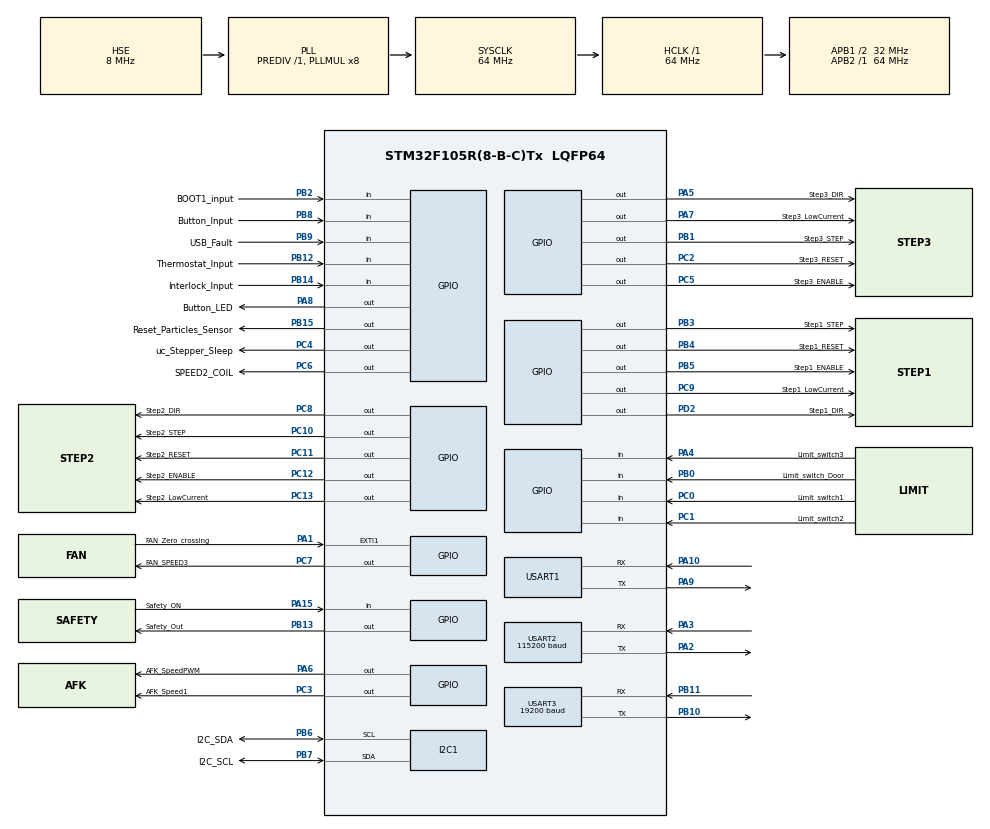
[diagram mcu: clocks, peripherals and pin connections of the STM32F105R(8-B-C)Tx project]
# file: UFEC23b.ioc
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Dma.Request0=USART1_RX
Dma.USART1_RX.0.Direction=DMA_PERIPH_TO_MEMORY
Dma.USART1_RX.0.Instance=DMA1_Channel5
Dma.USART1_RX.0.MemDataAlignment=DMA_MDATAALIGN_BYTE
Dma.USART1_RX.0.MemInc=DMA_MINC_ENABLE
Dma.USART1_RX.0.Mode=DMA_CIRCULAR
Dma.USART1_RX.0.PeriphDataAlignment=DMA_PDATAALIGN_BYTE
Dma.USART1_RX.0.PeriphInc=DMA_PINC_DISABLE
Dma.USART1_RX.0.Priority=DMA_PRIORITY_LOW
FREERTOS.INCLUDE_uxTaskGetStackHighWaterMark=1
FREERTOS.Tasks01=Algo_task,0,512,Algo_Init,As weak,NULL,Dynamic,NULL,NULL;MotorManager,0,128,Motor_task,As external,NULL,Dynamic,NULL,NULL
FREERTOS.Timers01=Timer,TimerCallback,osTimerPeriodic,Default,NULL,Dynamic,NULL
FREERTOS.configTOTAL_HEAP_SIZE=8192
FREERTOS.configUSE_NEWLIB_REENTRANT=1
FREERTOS.configUSE_TIMERS=1
IWDG.Prescaler=IWDG_PRESCALER_256
IWDG.Reload=780
Mcu.Family=STM32F1
Mcu.Name=STM32F105R(8-B-C)Tx
Mcu.Package=LQFP64
NVIC.DMA1_Channel5_IRQn=true\:5\:0\:false\:false\:true\:true\:false\:true\:true
NVIC.EXTI1_IRQn=true\:5\:0\:false\:false\:true\:true\:true\:true\:true
NVIC.I2C1_ER_IRQn=true\:5\:0\:false\:false\:true\:true\:true\:true\:true
NVIC.I2C1_EV_IRQn=true\:5\:0\:false\:false\:true\:true\:true\:true\:true
NVIC.PriorityGroup=NVIC_PRIORITYGROUP_4
NVIC.TIM1_UP_IRQn=true\:15\:0\:false\:false\:true\:false\:false\:true\:true
NVIC.TIM2_IRQn=true\:5\:0\:false\:false\:true\:true\:true\:true\:true
NVIC.TIM3_IRQn=true\:5\:0\:false\:false\:true\:true\:true\:true\:true
NVIC.TIM4_IRQn=true\:5\:0\:false\:false\:true\:true\:true\:true\:true
NVIC.TIM5_IRQn=true\:5\:0\:false\:false\:true\:true\:true\:true\:true
NVIC.TimeBase=TIM1_UP_IRQn
NVIC.TimeBaseIP=TIM1
NVIC.USART1_IRQn=true\:5\:0\:false\:false\:true\:true\:true\:true\:true
NVIC.USART2_IRQn=true\:5\:0\:false\:false\:true\:true\:true\:true\:true
NVIC.USART3_IRQn=true\:5\:0\:false\:false\:true\:true\:true\:true\:true
PA1.GPIO_Label=FAN_Zero_crossing
PA1.Signal=GPXTI1
PA10.GPIO_PuPd=GPIO_NOPULL
PA10.Mode=Asynchronous
PA10.Signal=USART1_RX
PA13.Mode=Serial_Wire
PA13.Signal=SYS_JTMS-SWDIO
PA14.Mode=Serial_Wire
PA14.Signal=SYS_JTCK-SWCLK
PA15.GPIO_Label=Safety_ON
PA15.Signal=GPIO_Input
PA2.Mode=Asynchronous
PA2.Signal=USART2_TX
PA3.GPIO_PuPd=GPIO_NOPULL
PA3.Mode=Asynchronous
PA3.Signal=USART2_RX
PA4.GPIO_Label=Limit_switch3
PA4.Signal=GPIO_Input
PA5.GPIO_Label=Step3_DIR
PA5.PinState=GPIO_PIN_SET
PA5.Signal=GPIO_Output
PA6.GPIO_Label=AFK_SpeedPWM
PA6.Signal=GPIO_Output
PA7.GPIO_Label=Step3_LowCurrent
PA7.Signal=GPIO_Output
PA8.GPIO_Label=Button_LED
PA8.PinState=GPIO_PIN_SET
PA8.Signal=GPIO_Output
PA9.Mode=Asynchronous
PA9.Signal=USART1_TX
PB0.GPIO_Label=Limit_switch_Door
PB0.Signal=GPIO_Input
PB1.GPIO_Label=Step3_STEP
PB1.GPIO_Speed=GPIO_SPEED_FREQ_HIGH
PB1.Signal=GPIO_Output
PB10.Mode=Asynchronous
PB10.Signal=USART3_TX
PB11.GPIO_PuPd=GPIO_NOPULL
PB11.Mode=Asynchronous
PB11.Signal=USART3_RX
PB12.GPIO_Label=Thermostat_Input
PB12.Signal=GPIO_Input
PB13.GPIO_Label=Safety_Out
PB13.GPIO_Speed=GPIO_SPEED_FREQ_LOW
PB13.PinState=GPIO_PIN_RESET
PB13.Signal=GPIO_Output
PB14.GPIO_Label=Interlock_Input
PB14.Signal=GPIO_Input
PB15.GPIO_Label=Reset_Particles_Sensor
PB15.PinState=GPIO_PIN_SET
PB15.Signal=GPIO_Output
PB2.GPIO_Label=BOOT1_input
PB2.Signal=GPIO_Input
PB3.GPIO_Label=Step1_STEP
PB3.GPIO_Speed=GPIO_SPEED_FREQ_HIGH
PB3.Signal=GPIO_Output
PB4.GPIO_Label=Step1_RESET
PB4.PinState=GPIO_PIN_SET
PB4.Signal=GPIO_Output
PB5.GPIO_Label=Step1_ENABLE
PB5.PinState=GPIO_PIN_SET
PB5.Signal=GPIO_Output
PB6.GPIO_Label=I2C_SDA
PB6.GPIO_Pu=GPIO_PULLUP
PB6.Mode=I2C
PB6.Signal=I2C1_SCL
PB7.GPIO_Label=I2C_SCL
PB7.GPIO_Pu=GPIO_PULLUP
PB7.Mode=I2C
PB7.Signal=I2C1_SDA
PB8.GPIO_Label=Button_Input
PB8.GPIO_PuPd=GPIO_NOPULL
PB8.Signal=GPIO_Input
PB9.GPIO_Label=USB_Fault
PB9.Signal=GPIO_Input
PC0.GPIO_Label=Limit_switch1
PC0.Signal=GPIO_Input
PC1.GPIO_Label=Limit_switch2
PC1.Signal=GPIO_Input
PC10.GPIO_Label=Step2_STEP
PC10.GPIO_Speed=GPIO_SPEED_FREQ_HIGH
PC10.Signal=GPIO_Output
PC11.GPIO_Label=Step2_RESET
PC11.PinState=GPIO_PIN_SET
PC11.Signal=GPIO_Output
PC12.GPIO_Label=Step2_ENABLE
PC12.PinState=GPIO_PIN_SET
PC12.Signal=GPIO_Output
PC13-TAMPER-RTC.GPIO_Label=Step2_LowCurrent
PC13-TAMPER-RTC.Signal=GPIO_Output
PC14-OSC32_IN.Mode=LSE-External-Oscillator
PC14-OSC32_IN.Signal=RCC_OSC32_IN
PC15-OSC32_OUT.Mode=LSE-External-Oscillator
PC15-OSC32_OUT.Signal=RCC_OSC32_OUT
PC2.GPIO_Label=Step3_RESET
PC2.PinState=GPIO_PIN_SET
PC2.Signal=GPIO_Output
PC3.GPIO_Label=AFK_Speed1
PC3.GPIO_ModeDefaultOutputPP=GPIO_MODE_OUTPUT_PP
PC3.PinState=GPIO_PIN_RESET
PC3.Signal=GPIO_Output
PC4.GPIO_Label=uc_Stepper_Sleep
PC4.Signal=GPIO_Output
PC5.GPIO_Label=Step3_ENABLE
PC5.PinState=GPIO_PIN_SET
PC5.Signal=GPIO_Output
PC6.GPIO_Label=SPEED2_COIL
PC6.Signal=GPIO_Output
PC7.GPIO_Label=FAN_SPEED3
PC7.Signal=GPIO_Output
PC8.GPIO_Label=Step2_DIR
PC8.Signal=GPIO_Output
PC9.GPIO_Label=Step1_LowCurrent
PC9.Signal=GPIO_Output
PD0-OSC_IN.Mode=HSE-External-Oscillator
PD0-OSC_IN.Signal=RCC_OSC_IN
PD1-OSC_OUT.Mode=HSE-External-Oscillator
PD1-OSC_OUT.Signal=RCC_OSC_OUT
PD2.GPIO_Label=Step1_DIR
PD2.Signal=GPIO_Output
ProjectManager.HeapSize=0x200
ProjectManager.StackSize=0x400
ProjectManager.TargetToolchain=STM32CubeIDE
RCC.AHBFreq_Value=64000000
RCC.APB1CLKDivider=RCC_HCLK_DIV2
RCC.APB1Freq_Value=32000000
RCC.APB1TimFreq_Value=64000000
RCC.APB2Freq_Value=64000000
RCC.APB2TimFreq_Value=64000000
RCC.HCLKFreq_Value=64000000
RCC.PLL2Mul=RCC_PLL2_MUL12
RCC.PLLMUL=RCC_PLL_MUL8
RCC.PLLSourceVirtual=RCC_PLLSOURCE_HSE
RCC.Prediv2=RCC_HSE_PREDIV2_DIV2
RCC.RTCClockSelection=RCC_RTCCLKSOURCE_LSE
RCC.SYSCLKFreq_VALUE=64000000
RCC.SYSCLKSource=RCC_SYSCLKSOURCE_PLLCLK
RCC.USBFreq_Value=42666666.666666664
TIM2.AutoReloadPreload=TIM_AUTORELOAD_PRELOAD_ENABLE
TIM2.Period=1280-1
TIM2.Prescaler=64-1
TIM2.TIM_MasterOutputTrigger=TIM_TRGO_ENABLE
TIM3.AutoReloadPreload=TIM_AUTORELOAD_PRELOAD_ENABLE
TIM3.Period=2500
TIM3.Prescaler=64-1
TIM3.TIM_MasterOutputTrigger=TIM_TRGO_ENABLE
TIM4.AutoReloadPreload=TIM_AUTORELOAD_PRELOAD_ENABLE
TIM4.Period=1280-1
TIM4.Prescaler=64-1
TIM4.TIM_MasterOutputTrigger=TIM_TRGO_ENABLE
TIM5.AutoReloadPreload=TIM_AUTORELOAD_PRELOAD_ENABLE
TIM5.Period=2500
TIM5.Prescaler=64-1
TIM5.TIM_MasterOutputTrigger=TIM_TRGO_ENABLE
USART1.VirtualMode=VM_ASYNC
USART2.BaudRate=115200
USART2.VirtualMode=VM_ASYNC
USART3.BaudRate=19200
USART3.VirtualMode=VM_ASYNC
VP_FREERTOS_VS_CMSIS_V1.Mode=CMSIS_V1
VP_IWDG_VS_IWDG.Mode=IWDG_Activate
VP_RTC_No_RTC_Output.Mode=RTC_OUT_NO
VP_RTC_VS_RTC_Activate.Mode=RTC_Enabled
VP_RTC_VS_RTC_Calendar.Mode=RTC_Calendar
VP_SYS_VS_tim1.Mode=TIM1
VP_TIM2_VS_ClockSourceINT.Mode=Internal
VP_TIM3_VS_ClockSourceINT.Mode=Internal
VP_TIM3_VS_OPM.Mode=OPM_bit
VP_TIM4_VS_ClockSourceINT.Mode=Internal
VP_TIM5_VS_ClockSourceINT.Mode=Internal
VP_TIM5_VS_OPM.Mode=OPM_bit
board=custom

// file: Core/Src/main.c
/* USER CODE BEGIN Header */
/**
  ******************************************************************************
  * @file           : main.c
  * @brief          : Main program body
  ******************************************************************************
  * @attention
  *
  * <h2><center>&copy; Copyright (c) 2023 STMicroelectronics.
  * All rights reserved.</center></h2>
  *
  * This software component is licensed by ST under Ultimate Liberty license
  * SLA0044, the "License"; You may not use this file except in compliance with
  * the License. You may obtain a copy of the License at:
  *                             www.st.com/SLA0044
  *
  ******************************************************************************
  */
/* USER CODE END Header */
#include "main.h"
#include "cmsis_os.h"

/* USER CODE BEGIN Includes */
#include "Algo.h"
#include "MotorManager.h"
#include "FanManager.h"
#include "message_buffer.h"

/* USER CODE END Includes */

I2C_HandleTypeDef hi2c1;

IWDG_HandleTypeDef hiwdg;

RTC_HandleTypeDef hrtc;

TIM_HandleTypeDef htim2;
TIM_HandleTypeDef htim3;
TIM_HandleTypeDef htim4;
TIM_HandleTypeDef htim5;

UART_HandleTypeDef huart1;
UART_HandleTypeDef huart2;
UART_HandleTypeDef huart3;
DMA_HandleTypeDef hdma_usart1_rx;

osThreadId Algo_taskHandle;
osThreadId MotorManagerHandle;
osTimerId TimerHandle;
/* USER CODE BEGIN PV */
MessageBufferHandle_t MotorControlsHandle;
QueueHandle_t MotorInPlaceHandle;

/* USER CODE END PV */

void SystemClock_Config(void);
static void MX_GPIO_Init(void);
static void MX_DMA_Init(void);
static void MX_RTC_Init(void);
static void MX_USART1_UART_Init(void);
static void MX_TIM2_Init(void);
static void MX_TIM3_Init(void);
static void MX_TIM4_Init(void);
static void MX_TIM5_Init(void);
static void MX_IWDG_Init(void);
void Algo_Init(void const * argument);
extern void Motor_task(void const * argument);
void TimerCallback(void const * argument);

int main(void)
{

  /* MCU Configuration--------------------------------------------------------*/

  /* Reset of all peripherals, Initializes the Flash interface and the Systick. */
  HAL_Init();

  /* Configure the system clock */
  SystemClock_Config();

  /* Initialize all configured peripherals */
  MX_GPIO_Init();
  MX_DMA_Init();
  MX_I2C1_Init();
  MX_RTC_Init();
  MX_USART1_UART_Init();
  MX_USART3_UART_Init();
  MX_USART2_UART_Init();
  MX_TIM2_Init();
  MX_TIM3_Init();
  MX_TIM4_Init();
  MX_TIM5_Init();
  MX_IWDG_Init();

  /* Create the timer(s) */
  /* definition and creation of Timer */
  osTimerDef(Timer, TimerCallback);
  TimerHandle = osTimerCreate(osTimer(Timer), osTimerPeriodic, NULL);

  /* USER CODE BEGIN RTOS_QUEUES */
  /* add queues, ... */
	MotorControlsHandle = xMessageBufferCreate(10);
	MotorInPlaceHandle = xQueueCreate(1, sizeof(bool));
  /* USER CODE END RTOS_QUEUES */

  /* Create the thread(s) */
  /* definition and creation of Algo_task */
  osThreadDef(Algo_task, Algo_Init, osPriorityNormal, 0, 512);
  Algo_taskHandle = osThreadCreate(osThread(Algo_task), NULL);

  /* definition and creation of MotorManager */
  osThreadDef(MotorManager, Motor_task, osPriorityNormal, 0, 128);
  MotorManagerHandle = osThreadCreate(osThread(MotorManager), NULL);

  /* Start scheduler */
  osKernelStart();

  /* We should never get here as control is now taken by the scheduler */
  /* Infinite loop */
  while (1)
  {

  }
}

void SystemClock_Config(void)
{
  RCC_OscInitTypeDef RCC_OscInitStruct = {0};
  RCC_ClkInitTypeDef RCC_ClkInitStruct = {0};
  RCC_PeriphCLKInitTypeDef PeriphClkInit = {0};

  /** Initializes the RCC Oscillators according to the specified parameters
  * in the RCC_OscInitTypeDef structure.
  */
  RCC_OscInitStruct.OscillatorType = RCC_OSCILLATORTYPE_LSI|RCC_OSCILLATORTYPE_HSE
                              |RCC_OSCILLATORTYPE_LSE;
  RCC_OscInitStruct.HSEState = RCC_HSE_ON;
  RCC_OscInitStruct.HSEPredivValue = RCC_HSE_PREDIV_DIV1;
  RCC_OscInitStruct.LSEState = RCC_LSE_ON;
  RCC_OscInitStruct.HSIState = RCC_HSI_ON;
  RCC_OscInitStruct.LSIState = RCC_LSI_ON;
  RCC_OscInitStruct.Prediv1Source = RCC_PREDIV1_SOURCE_HSE;
  RCC_OscInitStruct.PLL.PLLState = RCC_PLL_ON;
  RCC_OscInitStruct.PLL.PLLSource = RCC_PLLSOURCE_HSE;
  RCC_OscInitStruct.PLL.PLLMUL = RCC_PLL_MUL8;
  RCC_OscInitStruct.PLL2.PLL2State = RCC_PLL_NONE;
  if (HAL_RCC_OscConfig(&RCC_OscInitStruct) != HAL_OK)
  {
    Error_Handler();
  }

  /** Initializes the CPU, AHB and APB buses clocks
  */
  RCC_ClkInitStruct.ClockType = RCC_CLOCKTYPE_HCLK|RCC_CLOCKTYPE_SYSCLK
                              |RCC_CLOCKTYPE_PCLK1|RCC_CLOCKTYPE_PCLK2;
  RCC_ClkInitStruct.SYSCLKSource = RCC_SYSCLKSOURCE_PLLCLK;
  RCC_ClkInitStruct.AHBCLKDivider = RCC_SYSCLK_DIV1;
  RCC_ClkInitStruct.APB1CLKDivider = RCC_HCLK_DIV2;
  RCC_ClkInitStruct.APB2CLKDivider = RCC_HCLK_DIV1;

  if (HAL_RCC_ClockConfig(&RCC_ClkInitStruct, FLASH_LATENCY_2) != HAL_OK)
  {
    Error_Handler();
  }
  PeriphClkInit.PeriphClockSelection = RCC_PERIPHCLK_RTC;
  PeriphClkInit.RTCClockSelection = RCC_RTCCLKSOURCE_LSE;
  if (HAL_RCCEx_PeriphCLKConfig(&PeriphClkInit) != HAL_OK)
  {
    Error_Handler();
  }

  /** Configure the Systick interrupt time
  */
  __HAL_RCC_PLLI2S_ENABLE();
}

void MX_I2C1_Init(void)
{

  hi2c1.Instance = I2C1;
  hi2c1.Init.ClockSpeed = 100000;
  hi2c1.Init.DutyCycle = I2C_DUTYCYCLE_2;
  hi2c1.Init.OwnAddress1 = 0;
  hi2c1.Init.AddressingMode = I2C_ADDRESSINGMODE_7BIT;
  hi2c1.Init.DualAddressMode = I2C_DUALADDRESS_DISABLE;
  hi2c1.Init.OwnAddress2 = 0;
  hi2c1.Init.GeneralCallMode = I2C_GENERALCALL_DISABLE;
  hi2c1.Init.NoStretchMode = I2C_NOSTRETCH_DISABLE;
  if (HAL_I2C_Init(&hi2c1) != HAL_OK)
  {
    Error_Handler();
  }

}

static void MX_IWDG_Init(void)
{

  /* USER CODE BEGIN IWDG_Init 1 */
  #if WHITEBOX_DISABLE_WATCHDOG == 0
  /* USER CODE END IWDG_Init 1 */
  hiwdg.Instance = IWDG;
  hiwdg.Init.Prescaler = IWDG_PRESCALER_256;
  hiwdg.Init.Reload = 780;
  if (HAL_IWDG_Init(&hiwdg) != HAL_OK)
  {
    Error_Handler();
  }
  /* USER CODE BEGIN IWDG_Init 2 */
  #else
  #warning WATCHDOG IS DEACTIVATED!
  #endif
  /* USER CODE END IWDG_Init 2 */

}

static void MX_RTC_Init(void)
{

  RTC_TimeTypeDef sTime = {0};
  RTC_DateTypeDef DateToUpdate = {0};

  /** Initialize RTC Only
  */
  hrtc.Instance = RTC;
  hrtc.Init.AsynchPrediv = RTC_AUTO_1_SECOND;
  hrtc.Init.OutPut = RTC_OUTPUTSOURCE_NONE;
  if (HAL_RTC_Init(&hrtc) != HAL_OK)
  {
    Error_Handler();
  }

  /** Initialize RTC and set the Time and Date
  */
  sTime.Hours = 0x0;
  sTime.Minutes = 0x0;
  sTime.Seconds = 0x0;

  if (HAL_RTC_SetTime(&hrtc, &sTime, RTC_FORMAT_BCD) != HAL_OK)
  {
    Error_Handler();
  }
  DateToUpdate.WeekDay = RTC_WEEKDAY_MONDAY;
  DateToUpdate.Month = RTC_MONTH_JANUARY;
  DateToUpdate.Date = 0x1;
  DateToUpdate.Year = 0x0;

  if (HAL_RTC_SetDate(&hrtc, &DateToUpdate, RTC_FORMAT_BCD) != HAL_OK)
  {
    Error_Handler();
  }

}

static void MX_TIM2_Init(void)
{

  TIM_ClockConfigTypeDef sClockSourceConfig = {0};
  TIM_MasterConfigTypeDef sMasterConfig = {0};

  htim2.Instance = TIM2;
  htim2.Init.Prescaler = 64-1;
  htim2.Init.CounterMode = TIM_COUNTERMODE_UP;
  htim2.Init.Period = 1280-1;
  htim2.Init.ClockDivision = TIM_CLOCKDIVISION_DIV1;
  htim2.Init.AutoReloadPreload = TIM_AUTORELOAD_PRELOAD_ENABLE;
  if (HAL_TIM_Base_Init(&htim2) != HAL_OK)
  {
    Error_Handler();
  }
  sClockSourceConfig.ClockSource = TIM_CLOCKSOURCE_INTERNAL;
  if (HAL_TIM_ConfigClockSource(&htim2, &sClockSourceConfig) != HAL_OK)
  {
    Error_Handler();
  }
  sMasterConfig.MasterOutputTrigger = TIM_TRGO_ENABLE;
  sMasterConfig.MasterSlaveMode = TIM_MASTERSLAVEMODE_DISABLE;
  if (HAL_TIMEx_MasterConfigSynchronization(&htim2, &sMasterConfig) != HAL_OK)
  {
    Error_Handler();
  }

}

static void MX_TIM3_Init(void)
{

  TIM_ClockConfigTypeDef sClockSourceConfig = {0};
  TIM_MasterConfigTypeDef sMasterConfig = {0};

  htim3.Instance = TIM3;
  htim3.Init.Prescaler = 64-1;
  htim3.Init.CounterMode = TIM_COUNTERMODE_UP;
  htim3.Init.Period = 2500;
  htim3.Init.ClockDivision = TIM_CLOCKDIVISION_DIV1;
  htim3.Init.AutoReloadPreload = TIM_AUTORELOAD_PRELOAD_ENABLE;
  if (HAL_TIM_Base_Init(&htim3) != HAL_OK)
  {
    Error_Handler();
  }
  sClockSourceConfig.ClockSource = TIM_CLOCKSOURCE_INTERNAL;
  if (HAL_TIM_ConfigClockSource(&htim3, &sClockSourceConfig) != HAL_OK)
  {
    Error_Handler();
  }
  if (HAL_TIM_OnePulse_Init(&htim3, TIM_OPMODE_SINGLE) != HAL_OK)
  {
    Error_Handler();
  }
  sMasterConfig.MasterOutputTrigger = TIM_TRGO_ENABLE;
  sMasterConfig.MasterSlaveMode = TIM_MASTERSLAVEMODE_DISABLE;
  if (HAL_TIMEx_MasterConfigSynchronization(&htim3, &sMasterConfig) != HAL_OK)
  {
    Error_Handler();
  }

}

static void MX_TIM4_Init(void)
{

  TIM_ClockConfigTypeDef sClockSourceConfig = {0};
  TIM_MasterConfigTypeDef sMasterConfig = {0};

  htim4.Instance = TIM4;
  htim4.Init.Prescaler = 64-1;
  htim4.Init.CounterMode = TIM_COUNTERMODE_UP;
  htim4.Init.Period = 1280-1;
  htim4.Init.ClockDivision = TIM_CLOCKDIVISION_DIV1;
  htim4.Init.AutoReloadPreload = TIM_AUTORELOAD_PRELOAD_ENABLE;
  if (HAL_TIM_Base_Init(&htim4) != HAL_OK)
  {
    Error_Handler();
  }
  sClockSourceConfig.ClockSource = TIM_CLOCKSOURCE_INTERNAL;
  if (HAL_TIM_ConfigClockSource(&htim4, &sClockSourceConfig) != HAL_OK)
  {
    Error_Handler();
  }
  sMasterConfig.MasterOutputTrigger = TIM_TRGO_ENABLE;
  sMasterConfig.MasterSlaveMode = TIM_MASTERSLAVEMODE_DISABLE;
  if (HAL_TIMEx_MasterConfigSynchronization(&htim4, &sMasterConfig) != HAL_OK)
  {
    Error_Handler();
  }

}

static void MX_TIM5_Init(void)
{

  TIM_ClockConfigTypeDef sClockSourceConfig = {0};
  TIM_MasterConfigTypeDef sMasterConfig = {0};

  htim5.Instance = TIM5;
  htim5.Init.Prescaler = 64-1;
  htim5.Init.CounterMode = TIM_COUNTERMODE_UP;
  htim5.Init.Period = 2500;
  htim5.Init.ClockDivision = TIM_CLOCKDIVISION_DIV1;
  htim5.Init.AutoReloadPreload = TIM_AUTORELOAD_PRELOAD_ENABLE;
  if (HAL_TIM_Base_Init(&htim5) != HAL_OK)
  {
    Error_Handler();
  }
  sClockSourceConfig.ClockSource = TIM_CLOCKSOURCE_INTERNAL;
  if (HAL_TIM_ConfigClockSource(&htim5, &sClockSourceConfig) != HAL_OK)
  {
    Error_Handler();
  }
  if (HAL_TIM_OnePulse_Init(&htim5, TIM_OPMODE_SINGLE) != HAL_OK)
  {
    Error_Handler();
  }
  sMasterConfig.MasterOutputTrigger = TIM_TRGO_ENABLE;
  sMasterConfig.MasterSlaveMode = TIM_MASTERSLAVEMODE_DISABLE;
  if (HAL_TIMEx_MasterConfigSynchronization(&htim5, &sMasterConfig) != HAL_OK)
  {
    Error_Handler();
  }

}

static void MX_USART1_UART_Init(void)
{

  huart1.Instance = USART1;
  huart1.Init.BaudRate = 115200;
  huart1.Init.WordLength = UART_WORDLENGTH_8B;
  huart1.Init.StopBits = UART_STOPBITS_1;
  huart1.Init.Parity = UART_PARITY_NONE;
  huart1.Init.Mode = UART_MODE_TX_RX;
  huart1.Init.HwFlowCtl = UART_HWCONTROL_NONE;
  huart1.Init.OverSampling = UART_OVERSAMPLING_16;
  if (HAL_UART_Init(&huart1) != HAL_OK)
  {
    Error_Handler();
  }

}

void MX_USART2_UART_Init(void)
{

  huart2.Instance = USART2;
  huart2.Init.BaudRate = 115200;
  huart2.Init.WordLength = UART_WORDLENGTH_8B;
  huart2.Init.StopBits = UART_STOPBITS_1;
  huart2.Init.Parity = UART_PARITY_NONE;
  huart2.Init.Mode = UART_MODE_TX_RX;
  huart2.Init.HwFlowCtl = UART_HWCONTROL_NONE;
  huart2.Init.OverSampling = UART_OVERSAMPLING_16;
  if (HAL_UART_Init(&huart2) != HAL_OK)
  {
    Error_Handler();
  }

}

void MX_USART3_UART_Init(void)
{

  huart3.Instance = USART3;
  huart3.Init.BaudRate = 19200;
  huart3.Init.WordLength = UART_WORDLENGTH_8B;
  huart3.Init.StopBits = UART_STOPBITS_1;
  huart3.Init.Parity = UART_PARITY_NONE;
  huart3.Init.Mode = UART_MODE_TX_RX;
  huart3.Init.HwFlowCtl = UART_HWCONTROL_NONE;
  huart3.Init.OverSampling = UART_OVERSAMPLING_16;
  if (HAL_UART_Init(&huart3) != HAL_OK)
  {
    Error_Handler();
  }

}

static void MX_DMA_Init(void)
{

  /* DMA controller clock enable */
  __HAL_RCC_DMA1_CLK_ENABLE();

  /* DMA interrupt init */
  /* DMA1_Channel5_IRQn interrupt configuration */
  HAL_NVIC_SetPriority(DMA1_Channel5_IRQn, 5, 0);
  HAL_NVIC_EnableIRQ(DMA1_Channel5_IRQn);

}

static void MX_GPIO_Init(void)
{
  GPIO_InitTypeDef GPIO_InitStruct = {0};

  /* GPIO Ports Clock Enable */
  __HAL_RCC_GPIOC_CLK_ENABLE();
  __HAL_RCC_GPIOD_CLK_ENABLE();
  __HAL_RCC_GPIOA_CLK_ENABLE();
  __HAL_RCC_GPIOB_CLK_ENABLE();

  /*Configure GPIO pin Output Level */
  HAL_GPIO_WritePin(GPIOC, Step2_LowCurrent_Pin|AFK_Speed1_Pin|uc_Stepper_Sleep_Pin|SPEED2_COIL_Pin
                          |FAN_SPEED3_Pin|Step2_DIR_Pin|Step1_LowCurrent_Pin|Step2_STEP_Pin, GPIO_PIN_RESET);

  /*Configure GPIO pin Output Level */
  HAL_GPIO_WritePin(GPIOC, Step3_RESET_Pin|Step3_ENABLE_Pin|Step2_RESET_Pin|Step2_ENABLE_Pin, GPIO_PIN_SET);

  /*Configure GPIO pin Output Level */
  HAL_GPIO_WritePin(GPIOA, Step3_DIR_Pin|Button_LED_Pin, GPIO_PIN_SET);

  /*Configure GPIO pin Output Level */
  HAL_GPIO_WritePin(GPIOA, AFK_SpeedPWM_Pin|Step3_LowCurrent_Pin, GPIO_PIN_RESET);

  /*Configure GPIO pin Output Level */
  HAL_GPIO_WritePin(GPIOB, Step3_STEP_Pin|Safety_Out_Pin|Step1_STEP_Pin, GPIO_PIN_RESET);

  /*Configure GPIO pin Output Level */
  HAL_GPIO_WritePin(GPIOB, Reset_Particles_Sensor_Pin|Step1_RESET_Pin|Step1_ENABLE_Pin, GPIO_PIN_SET);

  /*Configure GPIO pin Output Level */
  HAL_GPIO_WritePin(Step1_DIR_GPIO_Port, Step1_DIR_Pin, GPIO_PIN_RESET);

  /*Configure GPIO pins : Step2_LowCurrent_Pin Step3_RESET_Pin AFK_Speed1_Pin uc_Stepper_Sleep_Pin
                           Step3_ENABLE_Pin SPEED2_COIL_Pin FAN_SPEED3_Pin Step2_DIR_Pin
                           Step1_LowCurrent_Pin Step2_RESET_Pin Step2_ENABLE_Pin */
  GPIO_InitStruct.Pin = Step2_LowCurrent_Pin|Step3_RESET_Pin|AFK_Speed1_Pin|uc_Stepper_Sleep_Pin
                          |Step3_ENABLE_Pin|SPEED2_COIL_Pin|FAN_SPEED3_Pin|Step2_DIR_Pin
                          |Step1_LowCurrent_Pin|Step2_RESET_Pin|Step2_ENABLE_Pin;
  GPIO_InitStruct.Mode = GPIO_MODE_OUTPUT_PP;
  GPIO_InitStruct.Pull = GPIO_NOPULL;
  GPIO_InitStruct.Speed = GPIO_SPEED_FREQ_LOW;
  HAL_GPIO_Init(GPIOC, &GPIO_InitStruct);

  /*Configure GPIO pins : Limit_switch1_Pin Limit_switch2_Pin */
  GPIO_InitStruct.Pin = Limit_switch1_Pin|Limit_switch2_Pin;
  GPIO_InitStruct.Mode = GPIO_MODE_INPUT;
  GPIO_InitStruct.Pull = GPIO_NOPULL;
  HAL_GPIO_Init(GPIOC, &GPIO_InitStruct);

  /*Configure GPIO pin : FAN_Zero_crossing_Pin */
  GPIO_InitStruct.Pin = FAN_Zero_crossing_Pin;
  GPIO_InitStruct.Mode = GPIO_MODE_IT_RISING;
  GPIO_InitStruct.Pull = GPIO_NOPULL;
  HAL_GPIO_Init(FAN_Zero_crossing_GPIO_Port, &GPIO_InitStruct);

  /*Configure GPIO pins : Limit_switch3_Pin Safety_ON_Pin */
  GPIO_InitStruct.Pin = Limit_switch3_Pin|Safety_ON_Pin;
  GPIO_InitStruct.Mode = GPIO_MODE_INPUT;
  GPIO_InitStruct.Pull = GPIO_NOPULL;
  HAL_GPIO_Init(GPIOA, &GPIO_InitStruct);

  /*Configure GPIO pins : Step3_DIR_Pin AFK_SpeedPWM_Pin Step3_LowCurrent_Pin Button_LED_Pin */
  GPIO_InitStruct.Pin = Step3_DIR_Pin|AFK_SpeedPWM_Pin|Step3_LowCurrent_Pin|Button_LED_Pin;
  GPIO_InitStruct.Mode = GPIO_MODE_OUTPUT_PP;
  GPIO_InitStruct.Pull = GPIO_NOPULL;
  GPIO_InitStruct.Speed = GPIO_SPEED_FREQ_LOW;
  HAL_GPIO_Init(GPIOA, &GPIO_InitStruct);

  /*Configure GPIO pins : Limit_switch_Door_Pin BOOT1_input_Pin Thermostat_Input_Pin Interlock_Input_Pin
                           Button_Input_Pin USB_Fault_Pin */
  GPIO_InitStruct.Pin = Limit_switch_Door_Pin|BOOT1_input_Pin|Thermostat_Input_Pin|Interlock_Input_Pin
                          |Button_Input_Pin|USB_Fault_Pin;
  GPIO_InitStruct.Mode = GPIO_MODE_INPUT;
  GPIO_InitStruct.Pull = GPIO_NOPULL;
  HAL_GPIO_Init(GPIOB, &GPIO_InitStruct);

  /*Configure GPIO pins : Step3_STEP_Pin Step1_STEP_Pin */
  GPIO_InitStruct.Pin = Step3_STEP_Pin|Step1_STEP_Pin;
  GPIO_InitStruct.Mode = GPIO_MODE_OUTPUT_PP;
  GPIO_InitStruct.Pull = GPIO_NOPULL;
  GPIO_InitStruct.Speed = GPIO_SPEED_FREQ_HIGH;
  HAL_GPIO_Init(GPIOB, &GPIO_InitStruct);

  /*Configure GPIO pins : Safety_Out_Pin Reset_Particles_Sensor_Pin Step1_RESET_Pin Step1_ENABLE_Pin */
  GPIO_InitStruct.Pin = Safety_Out_Pin|Reset_Particles_Sensor_Pin|Step1_RESET_Pin|Step1_ENABLE_Pin;
  GPIO_InitStruct.Mode = GPIO_MODE_OUTPUT_PP;
  GPIO_InitStruct.Pull = GPIO_NOPULL;
  GPIO_InitStruct.Speed = GPIO_SPEED_FREQ_LOW;
  HAL_GPIO_Init(GPIOB, &GPIO_InitStruct);

  /*Configure GPIO pin : Step2_STEP_Pin */
  GPIO_InitStruct.Pin = Step2_STEP_Pin;
  GPIO_InitStruct.Mode = GPIO_MODE_OUTPUT_PP;
  GPIO_InitStruct.Pull = GPIO_NOPULL;
  GPIO_InitStruct.Speed = GPIO_SPEED_FREQ_HIGH;
  HAL_GPIO_Init(Step2_STEP_GPIO_Port, &GPIO_InitStruct);

  /*Configure GPIO pin : Step1_DIR_Pin */
  GPIO_InitStruct.Pin = Step1_DIR_Pin;
  GPIO_InitStruct.Mode = GPIO_MODE_OUTPUT_PP;
  GPIO_InitStruct.Pull = GPIO_NOPULL;
  GPIO_InitStruct.Speed = GPIO_SPEED_FREQ_LOW;
  HAL_GPIO_Init(Step1_DIR_GPIO_Port, &GPIO_InitStruct);

  /* EXTI interrupt init*/
  HAL_NVIC_SetPriority(EXTI1_IRQn, 5, 0);
  HAL_NVIC_EnableIRQ(EXTI1_IRQn);

}

__weak void Algo_Init(void const * argument)
{
  for(;;)
  {
    osDelay(1);
  }
}

/* TimerCallback function */
void TimerCallback(void const * argument)
{
}

void HAL_TIM_PeriodElapsedCallback(TIM_HandleTypeDef *htim)
{
  if (htim->Instance == TIM1) {
    HAL_IncTick();
  }
  /* USER CODE BEGIN Callback 1 */
  if (htim->Instance == TIM2)
  {
	  htim->Instance->SR &= ~TIM_SR_UIF;
	  Fan_StartPulseSPEED3();
  }
  else if(htim->Instance == TIM3)
  {
	  Fan_StopPulseSPEED3();
  }
  else if(htim->Instance == TIM4)
  {
	  htim->Instance->SR &= ~TIM_SR_UIF;
	 Fan_StartPulseSPEED1();
  }
  else if(htim->Instance == TIM5)
  {
	  Fan_StopPulseSPEED1();
  }
  /* USER CODE END Callback 1 */
}

void Error_Handler(void)
{
  __disable_irq();
  while (1)
  {
  }
}

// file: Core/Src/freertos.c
/* USER CODE BEGIN Header */
/**
  ******************************************************************************
  * File Name          : freertos.c
  * Description        : Code for freertos applications
  ******************************************************************************
  * @attention
  *
  * <h2><center>&copy; Copyright (c) 2023 STMicroelectronics.
  * All rights reserved.</center></h2>
  *
  * This software component is licensed by ST under Ultimate Liberty license
  * SLA0044, the "License"; You may not use this file except in compliance with
  * the License. You may obtain a copy of the License at:
  *                             www.st.com/SLA0044
  *
  ******************************************************************************
  */
/* USER CODE END Header */

#include "FreeRTOS.h"
#include "task.h"
#include "main.h"

/* GetIdleTaskMemory prototype (linked to static allocation support) */
void vApplicationGetIdleTaskMemory( StaticTask_t **ppxIdleTaskTCBBuffer, StackType_t **ppxIdleTaskStackBuffer, uint32_t *pulIdleTaskStackSize );

/* GetTimerTaskMemory prototype (linked to static allocation support) */
void vApplicationGetTimerTaskMemory( StaticTask_t **ppxTimerTaskTCBBuffer, StackType_t **ppxTimerTaskStackBuffer, uint32_t *pulTimerTaskStackSize );

/* USER CODE BEGIN GET_IDLE_TASK_MEMORY */
static StaticTask_t xIdleTaskTCBBuffer;
static StackType_t xIdleStack[configMINIMAL_STACK_SIZE];

void vApplicationGetIdleTaskMemory( StaticTask_t **ppxIdleTaskTCBBuffer, StackType_t **ppxIdleTaskStackBuffer, uint32_t *pulIdleTaskStackSize )
{
  *ppxIdleTaskTCBBuffer = &xIdleTaskTCBBuffer;
  *ppxIdleTaskStackBuffer = &xIdleStack[0];
  *pulIdleTaskStackSize = configMINIMAL_STACK_SIZE;
  /* place for user code */
}
/* USER CODE END GET_IDLE_TASK_MEMORY */

/* USER CODE BEGIN GET_TIMER_TASK_MEMORY */
static StaticTask_t xTimerTaskTCBBuffer;
static StackType_t xTimerStack[configTIMER_TASK_STACK_DEPTH];

void vApplicationGetTimerTaskMemory( StaticTask_t **ppxTimerTaskTCBBuffer, StackType_t **ppxTimerTaskStackBuffer, uint32_t *pulTimerTaskStackSize )
{
  *ppxTimerTaskTCBBuffer = &xTimerTaskTCBBuffer;
  *ppxTimerTaskStackBuffer = &xTimerStack[0];
  *pulTimerTaskStackSize = configTIMER_TASK_STACK_DEPTH;
  /* place for user code */
}
/* USER CODE END GET_TIMER_TASK_MEMORY */
